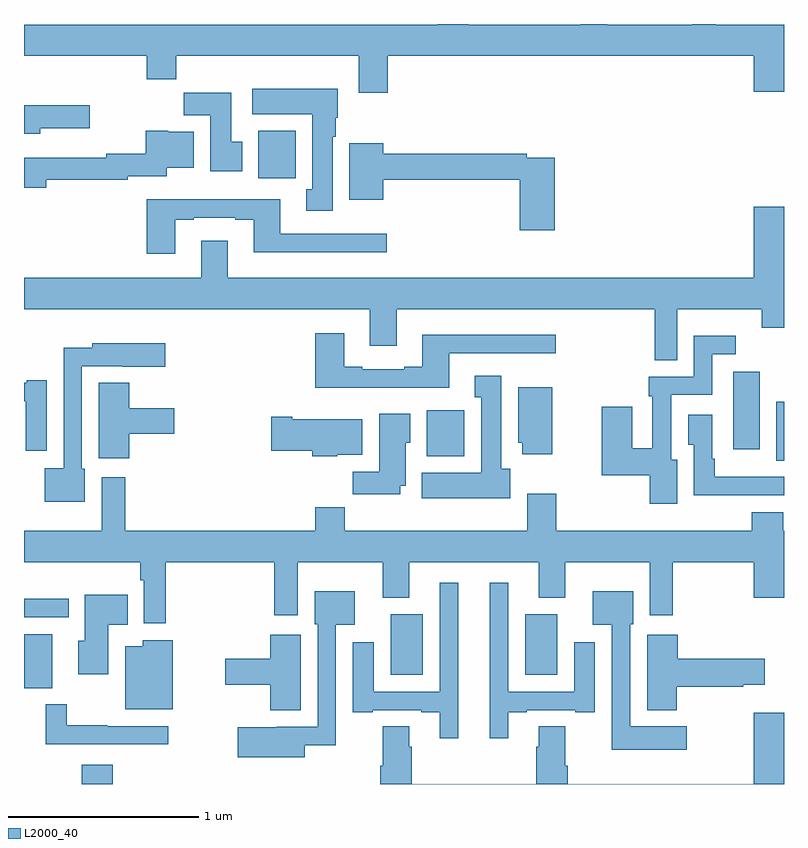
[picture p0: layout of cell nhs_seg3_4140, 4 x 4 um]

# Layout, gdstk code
import gdstk
lib = gdstk.Library(unit=1e-6, precision=1e-09)
def R(c, l, rs):  # rectangles x0, y0, x1, y1
    for r in rs: c.add(gdstk.rectangle(r[:2], r[2:], *l))
def P(c, l, *ps):  # polygons
    for p in ps: c.add(gdstk.Polygon(p, *l))
L2000_40 = (2000, 40)

nhs_seg3_4140 = lib.new_cell('nhs_seg3_4140')
R(nhs_seg3_4140, L2000_40, [(329.303,714.4,329.468,714.502), (329,714.905,329.149,715.189), (330.929,714.974,331.099,715.294), (331.637,714.974,331.807,715.294), (329,715.278,329.236,715.376), (332.96,716.101,333,716.412), (331.121,716.126,331.318,716.368), (332.732,716.163,332.872,716.569), (330.233,717.588,330.429,717.838)])
P(nhs_seg3_4140, L2000_40, [(330.914,718.232),(332.84,718.232),(332.84,718.044),(333,718.044),(333,718.396),(332.642,718.396),(332.642,718.4),(332.516,718.4),(332.516,718.396),(332.071,718.396),(332.071,718.4),(331.931,718.4),(331.931,718.396),(331.339,718.396),(331.339,718.4),(331.175,718.4),(331.175,718.396),(329,718.396),(329,718.232),(329.645,718.232),(329.645,718.108),(329.801,718.108),(329.801,718.232),(330.761,718.232),(330.761,718.038),(330.914,718.038)],
  [(330.625,717.806),(330.64,717.806),(330.64,717.906),(330.652,717.906),(330.652,718.06),(330.201,718.06),(330.201,717.926),(330.518,717.926),(330.518,717.529),(330.485,717.529),(330.485,717.417),(330.625,717.417)],
  [(330.148,717.78),(330.091,717.78),(330.091,718.039),(329.842,718.039),(329.842,717.92),(329.981,717.92),(329.981,717.624),(330.148,717.624)],
  [(329.086,717.851),(329.347,717.851),(329.347,717.973),(329,717.973),(329,717.822),(329.086,717.822)],
  [(329.116,717.58),(329.546,717.58),(329.546,717.6),(329.752,717.6),(329.752,717.644),(329.893,717.644),(329.893,717.832),(329.76,717.832),(329.76,717.838),(329.642,717.838),(329.642,717.716),(329.434,717.716),(329.434,717.697),(329,717.697),(329,717.538),(329.116,717.538)],
  [(331.793,717.696),(331.646,717.696),(331.646,717.716),(330.892,717.716),(330.892,717.772),(330.713,717.772),(330.713,717.476),(330.892,717.476),(330.892,717.58),(331.61,717.58),(331.61,717.315),(331.793,717.315)],
  [(329.797,717.369),(329.893,717.369),(329.893,717.381),(330.113,717.381),(330.113,717.369),(330.209,717.369),(330.209,717.2),(330.91,717.2),(330.91,717.297),(330.349,717.297),(330.349,717.478),(329.645,717.478),(329.645,717.192),(329.797,717.192)],
  [(332.437,716.9),(332.884,716.9),(332.884,716.801),(333,716.801),(333,717.439),(332.84,717.439),(332.84,717.064),(330.073,717.064),(330.073,717.259),(329.933,717.259),(329.933,717.064),(329,717.064),(329,716.9),(330.821,716.9),(330.821,716.706),(330.961,716.706),(330.961,716.9),(332.319,716.9),(332.319,716.629),(332.437,716.629)],
  [(331.237,716.667),(331.798,716.667),(331.798,716.764),(331.097,716.764),(331.097,716.596),(331.001,716.596),(331.001,716.583),(330.781,716.583),(330.781,716.596),(330.685,716.596),(330.685,716.773),(330.533,716.773),(330.533,716.486),(331.237,716.486)],
  [(332.437,716.107),(332.407,716.107),(332.407,716.448),(332.622,716.448),(332.622,716.661),(332.746,716.661),(332.746,716.758),(332.526,716.758),(332.526,716.544),(332.289,716.544),(332.289,716.441),(332.306,716.441),(332.306,716.168),(332.2,716.168),(332.2,716.386),(332.042,716.386),(332.042,716.026),(332.294,716.026),(332.294,715.875),(332.437,715.875)],
  [(329.32,716.058),(329.304,716.058),(329.304,716.598),(329.516,716.598),(329.516,716.597),(329.743,716.597),(329.743,716.719),(329.358,716.719),(329.358,716.696),(329.208,716.696),(329.208,716.062),(329.108,716.062),(329.108,715.886),(329.32,715.886)],
  [(331.558,716.058),(331.513,716.058),(331.513,716.548),(331.373,716.548),(331.373,716.435),(331.406,716.435),(331.406,716.038),(331.094,716.038),(331.094,715.904),(331.558,715.904)],
  [(329.119,716.524),(329.015,716.524),(329.015,716.511),(329,716.511),(329,716.415),(329.009,716.415),(329.009,716.154),(329.119,716.154)],
  [(329.555,716.243),(329.791,716.243),(329.791,716.377),(329.555,716.377),(329.555,716.512),(329.393,716.512),(329.393,716.115),(329.555,716.115)],
  [(331.78,716.488),(331.601,716.488),(331.601,716.196),(331.622,716.196),(331.622,716.136),(331.78,716.136)],
  [(330.979,715.97),(331.009,715.97),(331.009,716.196),(331.033,716.196),(331.033,716.35),(330.869,716.35),(330.869,716.044),(330.73,716.044),(330.73,715.926),(330.979,715.926)],
  [(332.747,715.92),(333,715.92),(333,716.016),(332.864,716.016),(332.864,716.017),(332.635,716.017),(332.635,716.113),(332.622,716.113),(332.622,716.344),(332.495,716.344),(332.495,716.185),(332.526,716.185),(332.526,715.919),(332.747,715.919)],
  [(330.648,716.132),(330.781,716.132),(330.781,716.32),(330.412,716.32),(330.412,716.333),(330.3,716.333),(330.3,716.155),(330.518,716.155),(330.518,716.126),(330.648,716.126)],
  [(329.747,715.568),(330.317,715.568),(330.317,715.287),(330.442,715.287),(330.442,715.568),(330.887,715.568),(330.887,715.379),(331.027,715.379),(331.027,715.568),(331.709,715.568),(331.709,715.379),(331.849,715.379),(331.849,715.568),(332.294,715.568),(332.294,715.287),(332.415,715.287),(332.415,715.568),(332.84,715.568),(332.84,715.38),(333,715.38),(333,715.732),(332.996,715.732),(332.996,715.831),(332.831,715.831),(332.831,715.732),(331.802,715.732),(331.802,715.927),(331.649,715.927),(331.649,715.732),(330.689,715.732),(330.689,715.856),(330.533,715.856),(330.533,715.732),(329.534,715.732),(329.534,716.014),(329.408,716.014),(329.408,715.732),(329,715.732),(329,715.568),(329.611,715.568),(329.611,715.472),(329.631,715.472),(329.631,715.245),(329.747,715.245)],
  [(331.285,715.459),(331.188,715.459),(331.188,714.885),(330.841,714.885),(330.841,715.147),(330.731,715.147),(330.731,714.777),(330.835,714.777),(330.835,714.789),(331.091,714.789),(331.091,714.777),(331.187,714.777),(331.187,714.642),(331.285,714.642)],
  [(331.549,714.777),(331.645,714.777),(331.645,714.789),(331.901,714.789),(331.901,714.777),(332.005,714.777),(332.005,715.147),(331.895,715.147),(331.895,714.885),(331.548,714.885),(331.548,715.459),(331.451,715.459),(331.451,714.642),(331.549,714.642)],
  [(332.488,714.703),(332.19,714.703),(332.19,715.242),(332.206,715.242),(332.206,715.414),(331.994,715.414),(331.994,715.238),(332.094,715.238),(332.094,714.581),(332.488,714.581)],
  [(330.478,714.605),(330.642,714.605),(330.642,715.238),(330.742,715.238),(330.742,715.414),(330.53,715.414),(330.53,715.242),(330.546,715.242),(330.546,714.702),(330.33,714.702),(330.33,714.7),(330.126,714.7),(330.126,714.542),(330.478,714.542)],
  [(329.443,715.238),(329.546,715.238),(329.546,715.396),(329.321,715.396),(329.321,715.155),(329.285,715.155),(329.285,714.977),(329.443,714.977)],
  [(330.457,715.186),(330.296,715.186),(330.296,715.058),(330.06,715.058),(330.06,714.923),(330.296,714.923),(330.296,714.787),(330.457,714.787)],
  [(332.436,714.911),(332.786,714.911),(332.786,714.923),(332.899,714.923),(332.899,715.058),(332.441,715.058),(332.441,715.186),(332.279,715.186),(332.279,714.788),(332.436,714.788)],
  [(329.782,715.156),(329.624,715.156),(329.624,715.126),(329.534,715.126),(329.534,714.794),(329.782,714.794)],
  [(329.758,714.705),(329.438,714.705),(329.438,714.71),(329.224,714.71),(329.224,714.82),(329.114,714.82),(329.114,714.609),(329.758,714.609)],
  [(333,714.775),(332.84,714.775),(332.84,714.4),(331.862,714.4),(331.862,714.496),(331.849,714.496),(331.849,714.704),(331.709,714.704),(331.709,714.596),(331.697,714.596),(331.697,714.4),(331.04,714.4),(331.04,714.596),(331.027,714.596),(331.027,714.704),(330.887,714.704),(330.887,714.496),(330.875,714.496),(330.875,714.4),(333,714.4)])

lib.write_gds('nhs_seg3_4140.gds')
